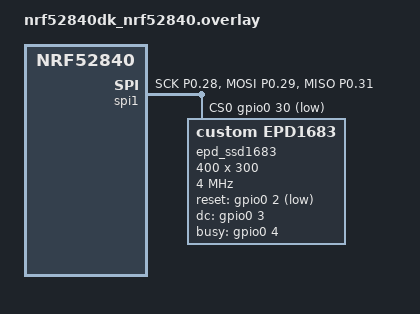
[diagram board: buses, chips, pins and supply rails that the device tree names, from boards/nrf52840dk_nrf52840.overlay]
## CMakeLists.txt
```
#-------------------------------------------------------------------------------
# Zephyr Example Application
#
# Copyright (c) 2021 Nordic Semiconductor ASA
# SPDX-License-Identifier: Apache-2.0

cmake_minimum_required(VERSION 3.21)

# Add external module
list(APPEND EXTRA_ZEPHYR_MODULES
  ${CMAKE_CURRENT_SOURCE_DIR}/custom_driver_module
)

find_package(Zephyr REQUIRED HINTS $ENV{ZEPHYR_BASE})

project(app LANGUAGES C)

target_sources(app PRIVATE src/main.c)
```

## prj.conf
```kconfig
CONFIG_SPI=y
CONFIG_GPIO=y
CONFIG_LOG=y
CONFIG_MAIN_STACK_SIZE=2048
CONFIG_CUSTOM_EPD1683=y
CONFIG_DISPLAY=y
CONFIG_DISPLAY_INIT_PRIORITY=80
CONFIG_HEAP_MEM_POOL_SIZE=8192
```

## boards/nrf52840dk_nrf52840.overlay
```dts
&i2c0 {	status = "disabled";};
&spi0 {	status = "disabled";};
&i2c1 {	status = "disabled";};
	
&spi1 {
    compatible = "nordic,nrf-spim";
	status = "okay";
	pinctrl-0 = <&spi1_default>;
	pinctrl-1 = <&spi1_sleep>;
	pinctrl-names = "default", "sleep";
	cs-gpios = <&gpio0 30 GPIO_ACTIVE_LOW>;

/* EPD SSD1683 display node */
	epd_ssd1683: custom-epd1683@0 {
		compatible = "custom,epd1683";
		reg = <0>;
		spi-max-frequency = <4000000>;
		reset-gpios = <&gpio0 2 GPIO_ACTIVE_LOW>;
		dc-gpios = <&gpio0 3 GPIO_ACTIVE_HIGH>;
		busy-gpios = <&gpio0 4 GPIO_ACTIVE_HIGH>;
		width = <400>;
		height = <300>;
	};
};

&pinctrl {
	spi1_default: spi1_default {
		group1 {
				psels = <NRF_PSEL(SPIM_SCK, 0, 28)>,
						<NRF_PSEL(SPIM_MOSI, 0, 29)>,
						<NRF_PSEL(SPIM_MISO, 0, 31)>;
		};
	};

	spi1_sleep: spi1_sleep {
		group1 {
				psels = <NRF_PSEL(SPIM_SCK, 0, 28)>,
						<NRF_PSEL(SPIM_MOSI, 0, 29)>,
						<NRF_PSEL(SPIM_MISO, 0, 31)>;
				low-power-enable;
		};
	};
};
```

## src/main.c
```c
#include <zephyr/device.h>
#include <zephyr/drivers/display.h>
#include <zephyr/kernel.h>
#include <zephyr/logging/log.h>
#include <zephyr/sys/printk.h>

LOG_MODULE_REGISTER(epd_test_main, LOG_LEVEL_INF);

void main(void) {
  const struct device *epd = DEVICE_DT_GET(DT_NODELABEL(epd_ssd1683));

  if (!device_is_ready(epd)) {
    LOG_ERR("EPD device not ready!");
    return;
  }

  LOG_INF("EPD device initialized successfully");

  /* Get display capabilities */
  struct display_capabilities caps;
  display_get_capabilities(epd, &caps);
  LOG_INF("Display: %dx%d, format: %d", caps.x_resolution, caps.y_resolution,
          caps.current_pixel_format);

  /* Create a simple test pattern */
  uint8_t test_pattern[400 * 300];
  for (int i = 0; i < 400 * 300; i++) {
    test_pattern[i] = (i % 2) ? 1 : 0; /* Checkerboard pattern */
  }

  /* Write test pattern to display */
  int ret = display_write(epd, 0, 0, 400, 300, test_pattern, 0, 0);
  if (ret) {
    LOG_ERR("Failed to write to display: %d", ret);
  } else {
    LOG_INF("Test pattern written to display");
  }

  while (1) {
    LOG_INF("EPD test running...");
    k_msleep(5000);
  }
}
```
